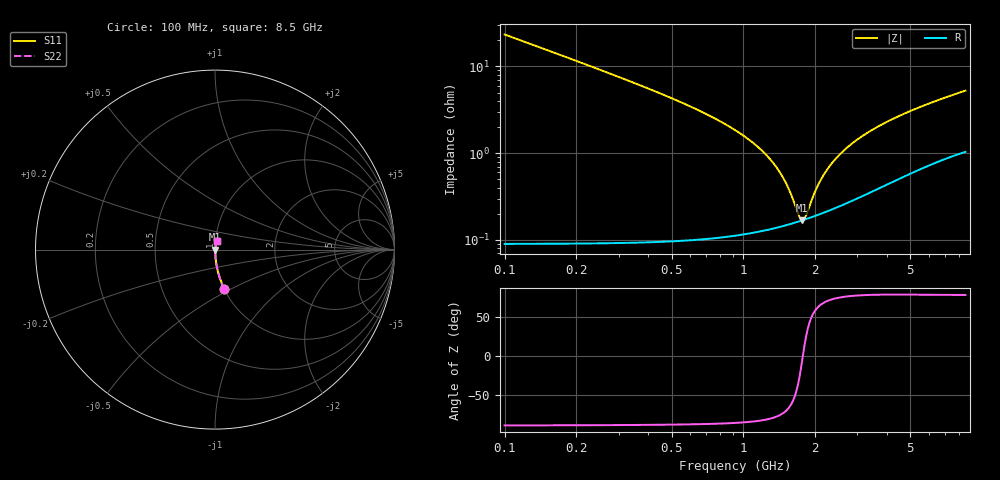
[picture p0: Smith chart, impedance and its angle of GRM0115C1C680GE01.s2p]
!Murata Part Number: GRM0115C1C680GE01
!These Parameters are Measured in Series Mode Connection
!Data Generated on Mar 30, 2021
!  o--ll--o
!Port1  Port2
!  o------o
!Operation Temp=25[degC], DC Bias Voltage=0[V]
!Freq. Start=100[MHz] Stop=9[GHz] 401[Steps]
# Hz S RI R 50
!Freq.(Hz) S11(Real) S11(Imag) S21(Real) S21(Imag) S12(Real) S12(Imag) S22(Real) S22(Imag)
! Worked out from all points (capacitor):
!   401 points, 100 MHz to 8.5 GHz, reference 50 ohm
!   read as one part in series: C = 68 pF near 142 MHz
!   lowest |Z| = 169 mohm at 1.759 GHz (marker M1)
!   series resonance near 1.774 GHz, so ESL is about 120 pH
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1e8  0.0524 -0.2209  0.9476 0.2209  0.9476 0.2209  0.0524 -0.2209
1.84e8  0.0164 -0.1236  0.9836 0.1236  0.9836 0.1236  0.0164 -0.1236
2.47e8  0.00945 -0.0919  0.9906 0.0919  0.9906 0.0919  0.00945 -0.0919
3.31e8  0.00554 -0.0678  0.9945 0.0678  0.9945 0.0678  0.00554 -0.0678
4.15e8  0.00376 -0.053  0.9962 0.053  0.9962 0.053  0.00376 -0.053
6.25e8  0.00207 -0.0326  0.9979 0.0326  0.9979 0.0326  0.00207 -0.0326
1.213e9  0.00138 -0.0102  0.9986 0.0102  0.9986 0.0102  0.00138 -0.0102
1.381e9  0.00143 -0.0066  0.9986 0.0066  0.9986 0.0066  0.00143 -0.0066
1.507e9  0.00149 -0.00427  0.9985 0.00427  0.9985 0.00427  0.00149 -0.00427
1.696e9  0.00162 -0.00116  0.9984 0.00116  0.9984 0.00116  0.00162 -0.00116
1.759e9  0.00168 -0.000214  0.9983 0.000214  0.9983 0.000214  0.00168 -0.000214
1.822e9  0.00173 0.0007  0.9983 -0.0007  0.9983 -0.0007  0.00173 0.0007
1.969e9  0.00187 0.00271  0.9981 -0.00271  0.9981 -0.00271  0.00187 0.00271
2.053e9  0.00196 0.0038  0.998 -0.0038  0.998 -0.0038  0.00196 0.0038
2.242e9  0.00217 0.0061  0.9978 -0.0061  0.9978 -0.0061  0.00217 0.0061
2.536e9  0.00254 0.00937  0.9975 -0.00937  0.9975 -0.00937  0.00254 0.00937
2.914e9  0.00307 0.0132  0.9969 -0.0132  0.9969 -0.0132  0.00307 0.0132
3.523e9  0.00403 0.0186  0.996 -0.0186  0.996 -0.0186  0.00403 0.0186
4.3e9  0.00538 0.0247  0.9946 -0.0247  0.9946 -0.0247  0.00538 0.0247
5.707e9  0.00796 0.0344  0.992 -0.0344  0.992 -0.0344  0.00796 0.0344
7.114e9  0.0105 0.0428  0.9895 -0.0428  0.9895 -0.0428  0.0105 0.0428
8.5e9  0.0128 0.0504  0.9872 -0.0504  0.9872 -0.0504  0.0128 0.0504
